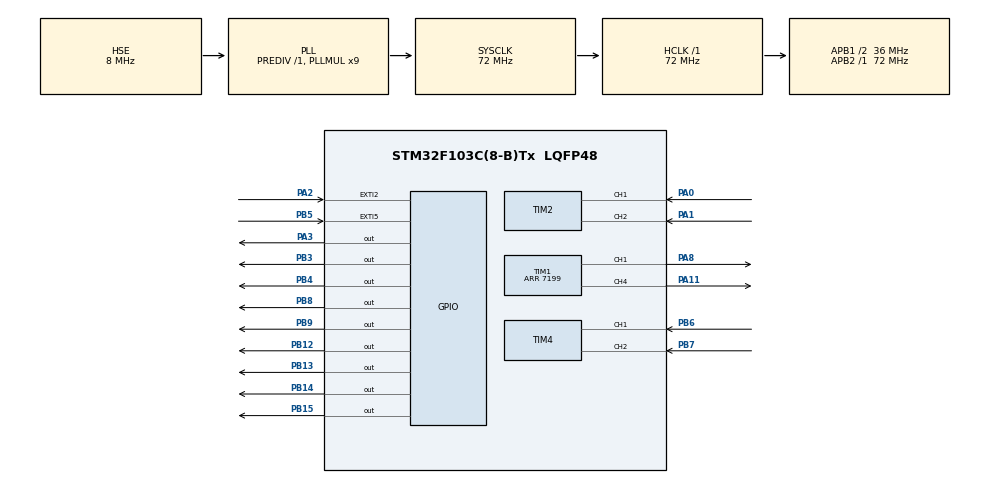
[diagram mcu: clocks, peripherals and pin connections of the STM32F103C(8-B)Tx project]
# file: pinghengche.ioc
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Mcu.Family=STM32F1
Mcu.Name=STM32F103C(8-B)Tx
Mcu.Package=LQFP48
NVIC.EXTI2_IRQn=true\:0\:0\:false\:false\:true\:true\:true\:true
NVIC.EXTI9_5_IRQn=true\:0\:0\:false\:false\:true\:true\:true\:true
NVIC.PriorityGroup=NVIC_PRIORITYGROUP_4
PA0-WKUP.Signal=S_TIM2_CH1_ETR
PA1.Signal=S_TIM2_CH2
PA11.Signal=S_TIM1_CH4
PA13.Mode=Serial_Wire
PA13.Signal=SYS_JTMS-SWDIO
PA14.Mode=Serial_Wire
PA14.Signal=SYS_JTCK-SWCLK
PA2.GPIO_ModeDefaultEXTI=GPIO_MODE_IT_RISING_FALLING
PA2.Signal=GPXTI2
PA3.PinState=GPIO_PIN_SET
PA3.Signal=GPIO_Output
PA8.Signal=S_TIM1_CH1
PB12.Signal=GPIO_Output
PB13.Signal=GPIO_Output
PB14.Signal=GPIO_Output
PB15.Signal=GPIO_Output
PB3.Signal=GPIO_Output
PB4.Signal=GPIO_Output
PB5.GPIO_ModeDefaultEXTI=GPIO_MODE_IT_FALLING
PB5.GPIO_PuPd=GPIO_PULLUP
PB5.Signal=GPXTI5
PB6.Signal=S_TIM4_CH1
PB7.Signal=S_TIM4_CH2
PB8.GPIO_ModeDefaultOutputPP=GPIO_MODE_OUTPUT_OD
PB8.GPIO_PuPd=GPIO_NOPULL
PB8.Signal=GPIO_Output
PB9.GPIO_ModeDefaultOutputPP=GPIO_MODE_OUTPUT_OD
PB9.GPIO_PuPd=GPIO_NOPULL
PB9.Signal=GPIO_Output
PC14-OSC32_IN.Mode=LSE-External-Oscillator
PC14-OSC32_IN.Signal=RCC_OSC32_IN
PC15-OSC32_OUT.Mode=LSE-External-Oscillator
PC15-OSC32_OUT.Signal=RCC_OSC32_OUT
PD0-OSC_IN.Mode=HSE-External-Oscillator
PD0-OSC_IN.Signal=RCC_OSC_IN
PD1-OSC_OUT.Mode=HSE-External-Oscillator
PD1-OSC_OUT.Signal=RCC_OSC_OUT
ProjectManager.HeapSize=0x200
ProjectManager.StackSize=0x400
ProjectManager.TargetToolchain=MDK-ARM V5.32
RCC.AHBFreq_Value=72000000
RCC.APB1CLKDivider=RCC_HCLK_DIV2
RCC.APB1Freq_Value=36000000
RCC.APB1TimFreq_Value=72000000
RCC.APB2Freq_Value=72000000
RCC.APB2TimFreq_Value=72000000
RCC.HCLKFreq_Value=72000000
RCC.PLLMUL=RCC_PLL_MUL9
RCC.PLLSourceVirtual=RCC_PLLSOURCE_HSE
RCC.SYSCLKFreq_VALUE=72000000
RCC.SYSCLKSource=RCC_SYSCLKSOURCE_PLLCLK
RCC.USBFreq_Value=72000000
SH.S_TIM1_CH1.0=TIM1_CH1,PWM Generation1 CH1
SH.S_TIM1_CH4.0=TIM1_CH4,PWM Generation4 CH4
SH.S_TIM2_CH1_ETR.0=TIM2_CH1,Encoder_Interface
SH.S_TIM2_CH2.0=TIM2_CH2,Encoder_Interface
SH.S_TIM4_CH1.0=TIM4_CH1,Encoder_Interface
SH.S_TIM4_CH2.0=TIM4_CH2,Encoder_Interface
TIM1.Channel-PWM\ Generation1\ CH1=TIM_CHANNEL_1
TIM1.Channel-PWM\ Generation4\ CH4=TIM_CHANNEL_4
TIM1.Period=7199
TIM1.Pulse-PWM\ Generation1\ CH1=7200
TIM2.EncoderMode=TIM_ENCODERMODE_TI12
TIM3.Prescaler=72
TIM4.EncoderMode=TIM_ENCODERMODE_TI12
VP_TIM3_VS_ClockSourceINT.Mode=Internal
board=custom

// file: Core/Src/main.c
/* USER CODE BEGIN Header */
/**
  ******************************************************************************
  * @file           : main.c
  * @brief          : Main program body
  ******************************************************************************
  * @attention
  *
  * Copyright (c) 2026 STMicroelectronics.
  * All rights reserved.
  *
  * This software is licensed under terms that can be found in the LICENSE file
  * in the root directory of this software component.
  * If no LICENSE file comes with this software, it is provided AS-IS.
  *
  ******************************************************************************
  */
/* USER CODE END Header */
#include "main.h"
#include "tim.h"
#include "gpio.h"

/* USER CODE BEGIN Includes */
# include "OLED.h"
# include "motor.h"
# include "IIC.h"
#include "inv_mpu.h"
#include "inv_mpu_dmp_motion_driver.h"
#include "mpu6050.h"
#include <stdio.h>
#include "sr04.h"
#include "encoder.h"
#include "pid.h"
/* USER CODE END Includes */

/* USER CODE BEGIN PV */

uint8_t display_buf[20];
extern float distance;
uint32_t sys_cyc;
extern int Encoder_left;
extern int Encoder_right;
extern float pitch,roll,yaw;
/* USER CODE END PV */

void SystemClock_Config(void);
/* USER CODE BEGIN PFP */
void Trig_Encoder(void);
/* USER CODE END PFP */

int main(void)
{

  /* MCU Configuration--------------------------------------------------------*/

  /* Reset of all peripherals, Initializes the Flash interface and the Systick. */
  HAL_Init();

  /* Configure the system clock */
  SystemClock_Config();

  /* Initialize all configured peripherals */
  MX_GPIO_Init();
  MX_TIM1_Init();
  MX_TIM3_Init();
  MX_TIM2_Init();
  MX_TIM4_Init();
  /* USER CODE BEGIN 2 */
	OLED_Init();
	OLED_Clear();

	MPU_Init();
	HAL_Delay(500);
	mpu_dmp_init();
	while(MPU_Init() != 0) {
    OLED_ShowString(2,2,"MPU Connect...");
    HAL_Delay(200);
	}
	OLED_ShowString(2,2,"MPU OK       ");

	while(mpu_dmp_init() != 0) {
    OLED_ShowString(2,2,"DMP Loading...");
    HAL_Delay(200);
}
	OLED_ShowString(2,2,"DMP Ready!    ");

	HAL_NVIC_SetPriority(EXTI9_5_IRQn, 0, 0);
  HAL_NVIC_EnableIRQ(EXTI9_5_IRQn);

	OLED_Clear();

//	OLED_ShowString(2,2,"Init succsee");
	HAL_TIM_PWM_Start(&htim1,TIM_CHANNEL_1);
	HAL_TIM_PWM_Start(&htim1,TIM_CHANNEL_4);
	HAL_TIM_Encoder_Start(&htim2,TIM_CHANNEL_ALL);
	HAL_TIM_Encoder_Start(&htim4,TIM_CHANNEL_ALL);

  /* USER CODE END 2 */

  /* Infinite loop */
  /* USER CODE BEGIN WHILE */
  while (1)
  {
Get_Distance();

//sprintf((char *)display_buf, "dis:%.2f ", distance);
//OLED_ShowString(1, 1, display_buf);   // 去掉引号

//sprintf((char *)display_buf, "L%d", Encoder_left);
//OLED_ShowString(2, 1, display_buf);

sprintf((char *)display_buf, "R%d", Encoder_right);
OLED_ShowString(3, 1, display_buf);

sprintf((char *)display_buf, "pit:%.1f", pitch);   // 添加 %
OLED_ShowString(1, 8, display_buf);

sprintf((char *)display_buf, "rol:%.1f", roll);     // 添加 %
OLED_ShowString(2, 8, display_buf);

sprintf((char *)display_buf, "yaw:%.1f", yaw);       // 添加 %
OLED_ShowString(3, 8, display_buf);

    /* USER CODE END WHILE */

  }
}

void SystemClock_Config(void)
{
  RCC_OscInitTypeDef RCC_OscInitStruct = {0};
  RCC_ClkInitTypeDef RCC_ClkInitStruct = {0};

  /** Initializes the RCC Oscillators according to the specified parameters
  * in the RCC_OscInitTypeDef structure.
  */
  RCC_OscInitStruct.OscillatorType = RCC_OSCILLATORTYPE_HSE;
  RCC_OscInitStruct.HSEState = RCC_HSE_ON;
  RCC_OscInitStruct.HSEPredivValue = RCC_HSE_PREDIV_DIV1;
  RCC_OscInitStruct.HSIState = RCC_HSI_ON;
  RCC_OscInitStruct.PLL.PLLState = RCC_PLL_ON;
  RCC_OscInitStruct.PLL.PLLSource = RCC_PLLSOURCE_HSE;
  RCC_OscInitStruct.PLL.PLLMUL = RCC_PLL_MUL9;
  if (HAL_RCC_OscConfig(&RCC_OscInitStruct) != HAL_OK)
  {
    Error_Handler();
  }

  /** Initializes the CPU, AHB and APB buses clocks
  */
  RCC_ClkInitStruct.ClockType = RCC_CLOCKTYPE_HCLK|RCC_CLOCKTYPE_SYSCLK
                              |RCC_CLOCKTYPE_PCLK1|RCC_CLOCKTYPE_PCLK2;
  RCC_ClkInitStruct.SYSCLKSource = RCC_SYSCLKSOURCE_PLLCLK;
  RCC_ClkInitStruct.AHBCLKDivider = RCC_SYSCLK_DIV1;
  RCC_ClkInitStruct.APB1CLKDivider = RCC_HCLK_DIV2;
  RCC_ClkInitStruct.APB2CLKDivider = RCC_HCLK_DIV1;

  if (HAL_RCC_ClockConfig(&RCC_ClkInitStruct, FLASH_LATENCY_2) != HAL_OK)
  {
    Error_Handler();
  }
}

/* USER CODE BEGIN 4 */
void Trig_Encoder(void)
{
	if(uwTick - sys_cyc<10)
	{
		return;
	}
	sys_cyc = uwTick;
	Encoder_left = Read_Speed(&htim2);
	Encoder_right = -Read_Speed(&htim4);
}
/* USER CODE END 4 */

void Error_Handler(void)
{
  __disable_irq();
  while (1)
  {
  }
}
